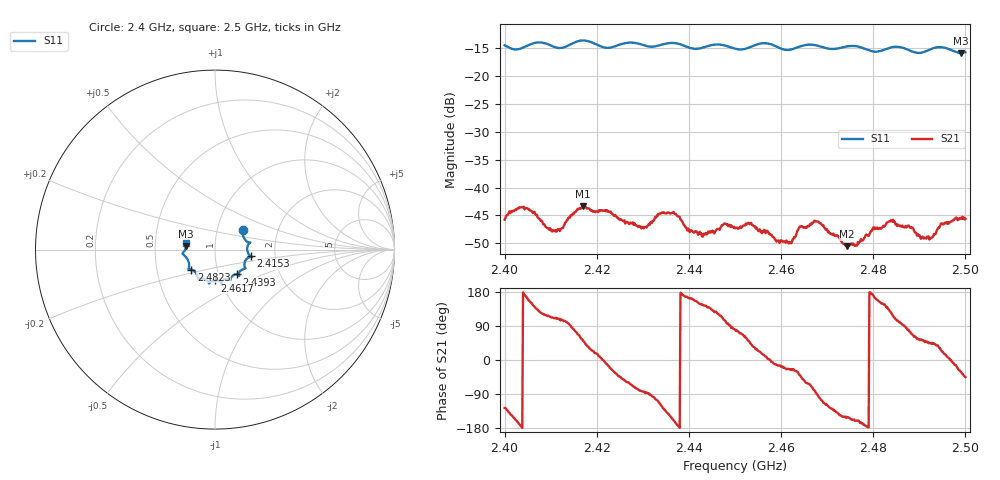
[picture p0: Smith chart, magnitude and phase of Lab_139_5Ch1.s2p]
# Hz S RI R 50
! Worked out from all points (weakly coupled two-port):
!   601 points, 2.4 GHz to 2.5 GHz, reference 50 ohm
!   highest |S21| = -43.36 dB at 2.417 GHz (marker M1); lowest = -50.5 dB at 2.4743 GHz (marker M2)
!   lowest |S11| = -15.8 dB at 2.499 GHz (marker M3), VSWR 1.38, Z = 36.2 + j1.41 ohm
!   |S11| at or under -10 dB: start of sweep to end of sweep
!   S12 and S22 are empty: the file has one direction only
!   S11 on the Smith chart (normalised r, x): 2.4 GHz: 1.33, +0.30; 2.4153 GHz: 1.49, -0.12; 2.4393 GHz: 1.23, -0.35; 2.4617 GHz: 0.94, -0.33; 2.4823 GHz: 0.75, -0.17; 2.5 GHz: 0.72, +0.05
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2.4e9  0.1551 0.1086  -0.00307 -0.00414  0 0  0 0
2.4045e9  0.1791 0.0435  -0.00645 0.00115  0 0  0 0
2.410833e9  0.1816 0.0194  -0.00146 0.00387  0 0  0 0
2.415333e9  0.1982 -0.0377  0.00145 0.00585  0 0  0 0
2.416667e9  0.2047 -0.0421  0.00365 0.00543  0 0  0 0
2.417e9  0.2049 -0.0423  0.00427 0.00528  0 0  0 0
2.430167e9  0.1543 -0.1105  0.000454 -0.00427  0 0  0 0
2.433333e9  0.1321 -0.134  -0.00187 -0.00549  0 0  0 0
2.436833e9  0.1342 -0.146  -0.00552 -0.00188  0 0  0 0
2.439333e9  0.123 -0.1382  -0.00429 0.00101  0 0  0 0
2.443333e9  0.0882 -0.1591  -0.0031 0.00227  0 0  0 0
2.447667e9  0.0829 -0.1697  -0.00124 0.0046  0 0  0 0
2.45e9  0.066 -0.1639  0.000726 0.00424  0 0  0 0
2.453167e9  0.0374 -0.1777  0.00316 0.00347  0 0  0 0
2.461667e9  0.00025 -0.172  0.00289 -0.00127  0 0  0 0
2.466667e9  -0.0335 -0.1888  0.00153 -0.00457  0 0  0 0
2.474333e9  -0.0894 -0.1622  -0.00259 -0.00147  0 0  0 0
2.482333e9  -0.1321 -0.111  -0.00371 0.00249  0 0  0 0
2.483333e9  -0.1407 -0.1098  -0.00344 0.00355  0 0  0 0
2.492e9  -0.1677 -0.0354  0.00263 0.00253  0 0  0 0
2.499e9  -0.1603 0.019  0.00455 -0.00278  0 0  0 0
2.5e9  -0.1598 0.0365  0.0037 -0.00372  0 0  0 0
